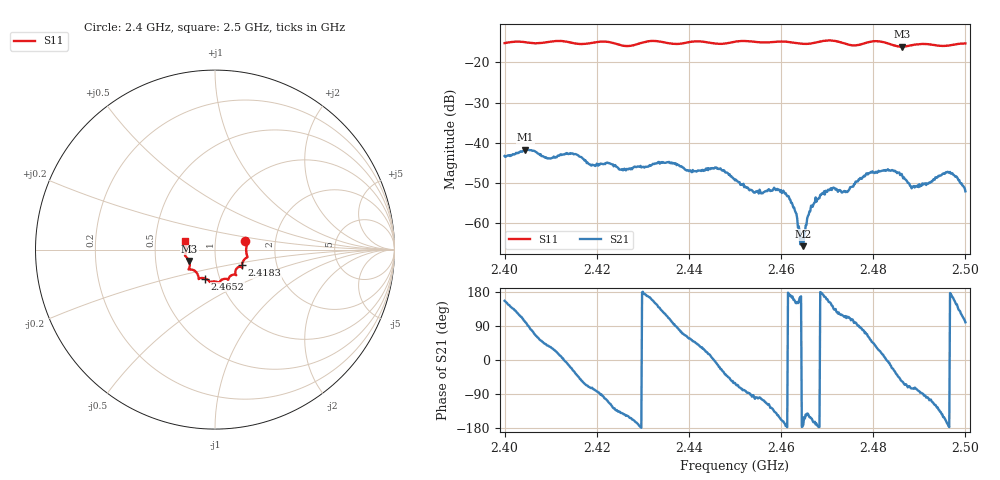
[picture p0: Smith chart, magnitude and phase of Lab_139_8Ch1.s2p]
# Hz S RI R 50
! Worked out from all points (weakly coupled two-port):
!   601 points, 2.4 GHz to 2.5 GHz, reference 50 ohm
!   highest |S21| = -41.75 dB at 2.4045 GHz (marker M1); lowest = -65.8 dB at 2.4648 GHz (marker M2)
!   lowest |S11| = -16.1 dB at 2.4862 GHz (marker M3), VSWR 1.37, Z = 37.2 - j4.87 ohm
!   |S11| at or under -10 dB: start of sweep to end of sweep
!   S12 and S22 are empty: the file has one direction only
!   S11 on the Smith chart (normalised r, x): 2.4 GHz: 1.40, +0.14; 2.4183 GHz: 1.33, -0.24; 2.4652 GHz: 0.85, -0.28; 2.5 GHz: 0.71, +0.07
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2.4e9  0.1679 0.0472  -0.00624 0.00276  0 0  0 0
2.4045e9  0.1772 0.0229  -0.00137 0.00806  0 0  0 0
2.416667e9  0.1554 -0.068  0.00387 -0.00537  0 0  0 0
2.418333e9  0.1502 -0.0863  0.00175 -0.00511  0 0  0 0
2.433333e9  0.117 -0.1412  -0.00439 0.00369  0 0  0 0
2.446333e9  0.0508 -0.1633  0.00462 -0.00113  0 0  0 0
2.45e9  0.0261 -0.1795  0.00166 -0.00296  0 0  0 0
2.454167e9  0.0131 -0.1808  -0.000373 -0.00236  0 0  0 0
2.461e9  -0.0295 -0.1794  -0.00234 -0.00024  0 0  0 0
2.463e9  -0.036 -0.1716  -0.00129 0.000596  0 0  0 0
2.464333e9  -0.046 -0.1652  -0.000524 0.000111  0 0  0 0
2.464833e9  -0.0508 -0.1629  -0.000505 -8.85e-05  0 0  0 0
2.465167e9  -0.0545 -0.1615  -0.000671 -0.000321  0 0  0 0
2.466667e9  -0.0708 -0.158  -0.00149 -0.000706  0 0  0 0
2.470667e9  -0.0911 -0.1643  -0.00232 0.00127  0 0  0 0
2.474167e9  -0.0957 -0.1399  -0.000872 0.00231  0 0  0 0
2.479e9  -0.141 -0.1106  0.00205 0.00362  0 0  0 0
2.483333e9  -0.1417 -0.0967  0.00448 -0.000543  0 0  0 0
2.486167e9  -0.1435 -0.0639  0.0023 -0.00336  0 0  0 0
2.488833e9  -0.1609 -0.0413  0.000691 -0.0028  0 0  0 0
2.496667e9  -0.162 0.0228  -0.00431 0.000239  0 0  0 0
2.5e9  -0.1658 0.0472  -0.000413 0.00244  0 0  0 0
